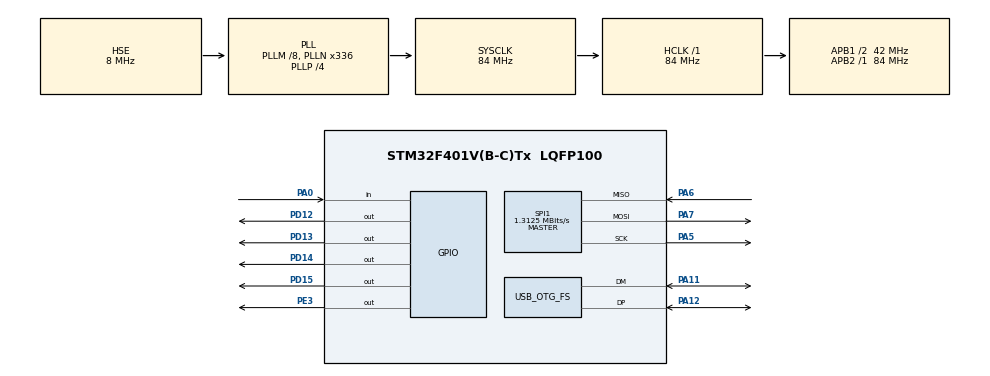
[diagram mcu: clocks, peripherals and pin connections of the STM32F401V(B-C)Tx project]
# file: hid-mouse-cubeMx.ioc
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Mcu.Family=STM32F4
Mcu.Name=STM32F401V(B-C)Tx
Mcu.Package=LQFP100
NVIC.OTG_FS_IRQn=true\:0\:0\:false\:false\:true\:true\:true\:true
NVIC.PriorityGroup=NVIC_PRIORITYGROUP_0
PA0-WKUP.Signal=GPIO_Input
PA11.Mode=Device_Only
PA11.Signal=USB_OTG_FS_DM
PA12.Mode=Device_Only
PA12.Signal=USB_OTG_FS_DP
PA5.Mode=Full_Duplex_Master
PA5.Signal=SPI1_SCK
PA6.Mode=Full_Duplex_Master
PA6.Signal=SPI1_MISO
PA7.Mode=Full_Duplex_Master
PA7.Signal=SPI1_MOSI
PD12.Signal=GPIO_Output
PD13.Signal=GPIO_Output
PD14.Signal=GPIO_Output
PD15.Signal=GPIO_Output
PE3.Signal=GPIO_Output
PH0\ -\ OSC_IN.Mode=HSE-External-Oscillator
PH0\ -\ OSC_IN.Signal=RCC_OSC_IN
PH1\ -\ OSC_OUT.Mode=HSE-External-Oscillator
PH1\ -\ OSC_OUT.Signal=RCC_OSC_OUT
ProjectManager.HeapSize=0x200
ProjectManager.StackSize=0x400
ProjectManager.TargetToolchain=Makefile
RCC.AHBFreq_Value=84000000
RCC.APB1CLKDivider=RCC_HCLK_DIV2
RCC.APB1Freq_Value=42000000
RCC.APB1TimFreq_Value=84000000
RCC.APB2Freq_Value=84000000
RCC.APB2TimFreq_Value=84000000
RCC.CortexFreq_Value=84000000
RCC.HCLKFreq_Value=84000000
RCC.HSE_VALUE=8000000
RCC.HSI_VALUE=16000000
RCC.LSE_VALUE=32768
RCC.PLLM=8
RCC.PLLN=336
RCC.PLLP=RCC_PLLP_DIV4
RCC.PLLQ=7
RCC.SYSCLKFreq_VALUE=84000000
RCC.SYSCLKSource=RCC_SYSCLKSOURCE_PLLCLK
RCC.VCOOutputFreq_Value=336000000
SPI1.BaudRatePrescaler=SPI_BAUDRATEPRESCALER_64
SPI1.CalculateBaudRate=1.3125 MBits/s
SPI1.Direction=SPI_DIRECTION_2LINES
SPI1.Mode=SPI_MODE_MASTER
SPI1.VirtualType=VM_MASTER
USB_DEVICE.CLASS_NAME_FS=CUSTOM_HID
USB_DEVICE.VirtualMode=CustomHid
USB_DEVICE.VirtualModeFS=Custom_Hid_FS
USB_OTG_FS.VirtualMode=Device_Only
VP_USB_DEVICE_VS_USB_DEVICE_CUSTOM_HID_FS.Mode=CUSTOM_HID_FS
board=STM32F401C-DISCO

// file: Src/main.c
/* USER CODE BEGIN Header */
/**
  ******************************************************************************
  * @file           : main.c
  * @brief          : Main program body
  ******************************************************************************
  * @attention
  *
  * Copyright (c) 2024 STMicroelectronics.
  * All rights reserved.
  *
  * This software is licensed under terms that can be found in the LICENSE file
  * in the root directory of this software component.
  * If no LICENSE file comes with this software, it is provided AS-IS.
  *
  ******************************************************************************
  */
/* USER CODE END Header */
#include "main.h"
#include "spi.h"
#include "usb_device.h"
#include "gpio.h"

/* USER CODE BEGIN Includes */
#include "usbd_customhid.h"
#include "accelerometer.h"
/* USER CODE END Includes */

void SystemClock_Config(void);

/* USER CODE BEGIN 0 */
extern USBD_HandleTypeDef hUsbDeviceFS;
//extern SPI_HandleTypeDef hspi1;

LIS3DSH_InitTypeDef myAccInitDef;
LIS3DSH_DataRaw myRawData;
/* USER CODE END 0 */

int main(void)
{

  /* MCU Configuration--------------------------------------------------------*/

  /* Reset of all peripherals, Initializes the Flash interface and the Systick. */
  HAL_Init();

  /* USER CODE BEGIN Init */
  uint8_t mouseBuffer[4];
  /* USER CODE END Init */

  /* Configure the system clock */
  SystemClock_Config();

  /* Initialize all configured peripherals */
  MX_GPIO_Init();
  MX_USB_DEVICE_Init();
  MX_SPI1_Init();
  /* USER CODE BEGIN 2 */
  mouseBuffer[0] = 0;					// Right and Left click
  mouseBuffer[1] = 0;					// X movement
  mouseBuffer[2] = 0;					// Y movement
  mouseBuffer[3] = 0;					// Scroll

  myAccInitDef.dataRate = LIS3DSH_DATARATE_25;
  myAccInitDef.enableAxes = LIS3DSH_XYZ_ENABLE;
  myAccInitDef.fullScale = LIS3DSH_FULLSCALE_4;
  myAccInitDef.interruptEnable = false;
  myAccInitDef.antiAliasingBW = LIS3DSH_FILTER_BW_200;
  LIS3DSH_Init(&hspi1, &myAccInitDef);
  /* USER CODE END 2 */

  /* Infinite loop */
  while (1)
  {

    /* USER CODE BEGIN 3 */
	if (LIS3DSH_PollDRDY(100)) {
		myRawData = LIS3DSH_GetDataRaw();

		mouseBuffer[0] = HAL_GPIO_ReadPin(GPIOA, GPIO_PIN_0);
		mouseBuffer[1] = (myRawData.x >> 8);
		mouseBuffer[2] = -(myRawData.y >> 8);

		USBD_CUSTOM_HID_SendReport(&hUsbDeviceFS, mouseBuffer, 4);
		HAL_Delay(100);
	}
  }
  /* USER CODE END 3 */
}

void SystemClock_Config(void)
{
  RCC_OscInitTypeDef RCC_OscInitStruct = {0};
  RCC_ClkInitTypeDef RCC_ClkInitStruct = {0};

  /** Configure the main internal regulator output voltage
  */
  __HAL_RCC_PWR_CLK_ENABLE();
  __HAL_PWR_VOLTAGESCALING_CONFIG(PWR_REGULATOR_VOLTAGE_SCALE2);

  /** Initializes the RCC Oscillators according to the specified parameters
  * in the RCC_OscInitTypeDef structure.
  */
  RCC_OscInitStruct.OscillatorType = RCC_OSCILLATORTYPE_HSE;
  RCC_OscInitStruct.HSEState = RCC_HSE_ON;
  RCC_OscInitStruct.PLL.PLLState = RCC_PLL_ON;
  RCC_OscInitStruct.PLL.PLLSource = RCC_PLLSOURCE_HSE;
  RCC_OscInitStruct.PLL.PLLM = 8;
  RCC_OscInitStruct.PLL.PLLN = 336;
  RCC_OscInitStruct.PLL.PLLP = RCC_PLLP_DIV4;
  RCC_OscInitStruct.PLL.PLLQ = 7;
  if (HAL_RCC_OscConfig(&RCC_OscInitStruct) != HAL_OK)
  {
    Error_Handler();
  }

  /** Initializes the CPU, AHB and APB buses clocks
  */
  RCC_ClkInitStruct.ClockType = RCC_CLOCKTYPE_HCLK|RCC_CLOCKTYPE_SYSCLK
                              |RCC_CLOCKTYPE_PCLK1|RCC_CLOCKTYPE_PCLK2;
  RCC_ClkInitStruct.SYSCLKSource = RCC_SYSCLKSOURCE_PLLCLK;
  RCC_ClkInitStruct.AHBCLKDivider = RCC_SYSCLK_DIV1;
  RCC_ClkInitStruct.APB1CLKDivider = RCC_HCLK_DIV2;
  RCC_ClkInitStruct.APB2CLKDivider = RCC_HCLK_DIV1;

  if (HAL_RCC_ClockConfig(&RCC_ClkInitStruct, FLASH_LATENCY_2) != HAL_OK)
  {
    Error_Handler();
  }
}

void Error_Handler(void)
{
  __disable_irq();
  while (1)
  {
  }
}
